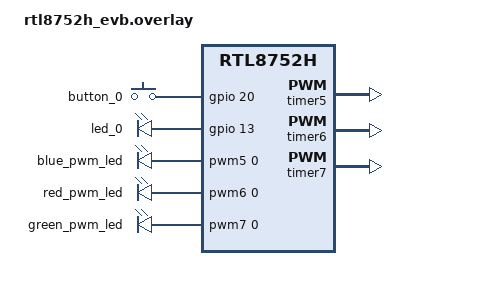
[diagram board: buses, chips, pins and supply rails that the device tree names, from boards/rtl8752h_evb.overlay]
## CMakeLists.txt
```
# SPDX-License-Identifier: Apache-2.0

cmake_minimum_required(VERSION 3.20.0)
set(QEMU_EXTRA_FLAGS -s)

find_package(Zephyr REQUIRED HINTS $ENV{ZEPHYR_BASE})
project(mesh)

target_sources(app PRIVATE src/main.c)

if(CONFIG_BOARD_BBC_MICROBIT)
  target_sources(app PRIVATE src/microbit.c)
else()
  target_sources(app PRIVATE src/board.c)
endif()

if (CONFIG_BUILD_WITH_TFM)
  target_include_directories(app PRIVATE
    $<TARGET_PROPERTY:tfm,TFM_BINARY_DIR>/api_ns/interface/include
  )
endif()
# zephyr_code_relocate(FILES ${WEST_TOPDIR}/modules/hal/realtek/bee/drivers/pinmux/src/rtl8752h/rtl876x_pinmux.c LOCATION RAM)
```

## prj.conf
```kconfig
CONFIG_SYSTEM_WORKQUEUE_STACK_SIZE=2048

CONFIG_BT_SETTINGS=y
CONFIG_FLASH=y
CONFIG_FLASH_MAP=y
CONFIG_NVS=y
CONFIG_SETTINGS=y
CONFIG_HWINFO=y

CONFIG_BT=y
CONFIG_BT_L2CAP_TX_BUF_COUNT=5
CONFIG_BT_PERIPHERAL=y
CONFIG_BT_OBSERVER=y
CONFIG_BT_BROADCASTER=y

CONFIG_BT_CTLR_DUP_FILTER_LEN=0
CONFIG_BT_CTLR_LE_ENC=n
CONFIG_BT_CTLR_LE_PING=n
CONFIG_BT_DATA_LEN_UPDATE=n
CONFIG_BT_PHY_UPDATE=n
CONFIG_BT_CTLR_MIN_USED_CHAN=n
CONFIG_BT_CTLR_PRIVACY=n
CONFIG_BT_CTLR_CHAN_SEL_2=n

CONFIG_BT_MESH=y
CONFIG_BT_MESH_MODEL_EXTENSIONS=y
CONFIG_BT_MESH_RELAY=y
CONFIG_BT_MESH_FRIEND=n
CONFIG_BT_MESH_PB_GATT=y
CONFIG_BT_MESH_PB_ADV=y
CONFIG_BT_MESH_GATT_PROXY=y

CONFIG_BT_MESH_SUBNET_COUNT=2
CONFIG_BT_MESH_APP_KEY_COUNT=2
CONFIG_BT_MESH_MODEL_GROUP_COUNT=2
CONFIG_BT_MESH_LABEL_COUNT=3


#RTL_DEBUG[🔧] common mesh conf
#2025-07-30
CONFIG_DEBUG_OPTIMIZATIONS=n

CONFIG_LOG=y

CONFIG_SHELL=y
CONFIG_BT_MESH_SHELL=y
# CONFIG_SHELL_HISTORY=n
CONFIG_SHELL_CMDS_SELECT=n
CONFIG_SHELL_HELP=n
CONFIG_SHELL_TAB_AUTOCOMPLETION=n
CONFIG_SHELL_CMD_BUFF_SIZE=32
CONFIG_FLASH_SHELL=n
#配置为1500 发现执行mesh reset-local会出现shell uart线程的栈溢出
CONFIG_SHELL_STACK_SIZE=2048

CONFIG_LOG_BUFFER_SIZE=1024


CONFIG_BT_MESH_CDB=y

CONFIG_BT_MESH_CRPL=30
CONFIG_BT_MESH_MSG_CACHE_SIZE=30

CONFIG_NVS_LOOKUP_CACHE=y
CONFIG_SETTINGS_NVS_NAME_CACHE=y
CONFIG_SETTINGS_NVS_NAME_CACHE_SIZE=32

#长时间运行mesh 使用率有720byte
CONFIG_MAIN_STACK_SIZE=1200

CONFIG_SPEED_OPTIMIZATIONS=y


# CONFIG_STDOUT_CONSOLE=y
# enable to use thread names
CONFIG_SEGGER_SYSTEMVIEW=n
CONFIG_THREAD_NAME=y
CONFIG_USE_SEGGER_RTT=y
CONFIG_TRACING=y
CONFIG_TRACING_BACKEND_RAM=y
# enable for post-mortem tracing
CONFIG_SEGGER_SYSVIEW_POST_MORTEM_MODE=n
CONFIG_TRACING_BUFFER_SIZE=4096

CONFIG_TICKLESS_KERNEL=n
CONFIG_TIMESLICE_SIZE=10

CONFIG_BT_MESH_UNPROV_BEACON_INT=10

#使用pubic addr
CONFIG_BT_PRIVACY=n

CONFIG_DEBUG_COREDUMP=y
CONFIG_DEBUG_COREDUMP_BACKEND_LOGGING=y
```

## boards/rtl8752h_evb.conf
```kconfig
#RTL_DEBUG[🔧]rtl8762h mesh 开启gpio led pwm
CONFIG_GPIO=y
CONFIG_PWM=n
CONFIG_LED=y

#default use ext adv
CONFIG_BT_EXT_ADV=y
#legacy adv情况下,要设置mesh adv stack,defult值1024不够用,在extend adv模式下不起作用
CONFIG_BT_MESH_ADV_STACK_SIZE=2500

CONFIG_PM=n

CONFIG_LOG=y

CONFIG_UART_BEE_KEEP_ACTIVE_AFTER_RX_WAKEUP=y
CONFIG_UART_BEE_KEEP_ACTIVE_TIMEOUT_MSEC=10000

CONFIG_BT_MESH_CDB=y

CONFIG_BT_MESH_CRPL=30
CONFIG_BT_MESH_MSG_CACHE_SIZE=30

CONFIG_NVS_LOOKUP_CACHE=y
CONFIG_SETTINGS_NVS_NAME_CACHE=y
CONFIG_SETTINGS_NVS_NAME_CACHE_SIZE=32

CONFIG_BT_MESH_GATT_PROXY_ENABLED=y


CONFIG_BT_MESH_UNPROV_BEACON_INT=10


#other wise will stack overflow
CONFIG_IDLE_STACK_SIZE=1024


#zephyr\subsys\bluetooth\common\Kconfig中配置的值：开启extend adv,值是58，开启leagcy adv,值是255
#如果没有开启blocking机制，则需要配置discardable size为255
CONFIG_BT_BUF_EVT_DISCARDABLE_SIZE=255
CONFIG_BT_BUF_EVT_DISCARDABLE_COUNT=5


#长时间运行mesh 使用率有1.3k，leagcy adv发包，使用率是1892byte,default 2600: zephyr\subsys\bluetooth\host\Kconfig ，次数优化ram,配置为2048
CONFIG_BT_RX_STACK_SIZE=2048

#长时间运行之后，使用了1200byte，需要调整2048比较保险
CONFIG_BT_MESH_SETTINGS_WORKQ_STACK_SIZE=1800

CONFIG_LOG_BUFFER_SIZE=1024

#优化ram:default为32,在zephyr\subsys\bluetooth\mesh\Kconfig
#控制每个Relay节点可同时缓存多少条需要广播出去的retransmit消息，保障高并发场景不丢包，32变为16,减掉1k
CONFIG_BT_MESH_RELAY_BUF_COUNT=8

#zephyr\boards\realtek\rtl8752htv_evb\Kconfig.defconfig中配置的值是7/8，为了优化ram，设置为5和6. config file中配置的acl rx是5，保持一致
CONFIG_BT_BUF_ACL_RX_COUNT=5
CONFIG_BT_BUF_EVT_RX_COUNT=6


#同时支持的中继广告集数量,(默认：0，范围：0 到 BT_EXT_ADV_MAX_ADV_SET），较高的值允许更多并发中继消息。
#若设为 0，缺乏专用中继集，可能限制密集网络中的配网 PDU 中继。

CONFIG_BT_EXT_ADV_MAX_ADV_SET=4
CONFIG_BT_MESH_RELAY_ADV_SETS=2

#允许主adv广播集在专用中继集忙碌时，用于中继消息，（默认：禁用），启用后可提高中继效率，但在主集忙碌时可能延迟本地配网消息
CONFIG_BT_MESH_PB_ADV_USE_RELAY_SETS=y

#为 GATT 服务端广告使用单独的扩展广播集，（默认：禁用）,开启后可减少与 Mesh 广播的竞争
CONFIG_BT_MESH_ADV_EXT_GATT_SEPARATE=y

#为 Friend 节点广告使用单独的扩展广告集,默认：禁用,启用此选项可减少 LPN 扫描时间，间接提高配网效率,优化低功耗节点(LPN)的接收窗口
# BT_MESH_ADV_EXT_FRIEND_SEPARATE=y


#ext adv和scan模式下,scan效率低,需要增加：
#pb-adv的重传:

#Link Open 和 Transaction PDU 的重传次数,（默认：使用中继集时 7，否则 0；范围：0–7）
CONFIG_BT_MESH_PB_ADV_TRANS_PDU_RETRANSMIT_COUNT=4

#Link Ack 和 Transaction Acknowledgment PDU 的重传次数,（默认：2，范围：0–7）,较高值确保确认消息送达，但过多重传可能导致网络拥堵
CONFIG_BT_MESH_PB_ADV_TRANS_ACK_RETRANSMIT_COUNT=3

#Link Close PDU 的重传次数,（默认：使用中继集时 7，否则 2；范围：0–7）
CONFIG_BT_MESH_PB_ADV_LINK_CLOSE_RETRANSMIT_COUNT=4

#配网 PDU 重传的超时时间,较短的超时加快重传，适合噪声环境，但可能增加网络负载；较长的超时可能降低成功率
CONFIG_BT_MESH_PB_ADV_RETRANS_TIMEOUT=350

#configuration的重传：
CONFIG_BT_MESH_NETWORK_TRANSMIT_COUNT=3
CONFIG_BT_MESH_NETWORK_TRANSMIT_INTERVAL=15

CONFIG_BT_MESH_RELAY_RETRANSMIT_COUNT=3
CONFIG_BT_MESH_RELAY_RETRANSMIT_INTERVAL=15

#本地消息的广告缓冲区数量,默认：6，范围：1–256,缓冲区不足可能导致配网数据包丢失，尤其在密集网络中
CONFIG_BT_MESH_ADV_BUF_COUNT=12



# for debug
CONFIG_THREAD_NAME=y
#开启这个config,log_stack会由默认的768变为2048，见在zephyr\subsys\logging\Kconfig.processing中LOG_PROCESS_THREAD_STACK_SIZE
#CONFIG_ASSERT=y
CONFIG_BT_MESH_PROV_LOG_LEVEL_DBG=y
CONFIG_BT_MESH_TRANS_LOG_LEVEL_DBG=y
CONFIG_SYS_HEAP_RUNTIME_STATS=y

CONFIG_CODE_DATA_RELOCATION=y

CONFIG_BT_DEVICE_NAME="RTK bee3plus Mesh Light"

#在zephyr\subsys\bluetooth\host\Kconfig和hci core.c中添加的blocking去掉了，恢复原始的设置，因为验证：
#hci_rtl87x2g.c所以此处注销
# CONFIG_BT_RECV_BLOCKING=y 
```

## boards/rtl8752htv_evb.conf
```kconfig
#RTL_DEBUG[🔧]rtl8762h mesh 开启gpio led pwm
CONFIG_GPIO=y
CONFIG_PWM=y
CONFIG_LED=y

#default use ext adv
CONFIG_BT_EXT_ADV=y
#legacy adv情况下,要设置mesh adv stack,defult值1024不够用,在extend adv模式下不起作用
CONFIG_BT_MESH_ADV_STACK_SIZE=2500

CONFIG_PM=n

CONFIG_LOG=y


CONFIG_BT_MESH_CDB=y

CONFIG_BT_MESH_CRPL=30
CONFIG_BT_MESH_MSG_CACHE_SIZE=30

CONFIG_NVS_LOOKUP_CACHE=y
CONFIG_SETTINGS_NVS_NAME_CACHE=y
CONFIG_SETTINGS_NVS_NAME_CACHE_SIZE=32

CONFIG_BT_MESH_GATT_PROXY_ENABLED=y


CONFIG_BT_MESH_UNPROV_BEACON_INT=10


#other wise will stack overflow
CONFIG_IDLE_STACK_SIZE=1024


#zephyr\subsys\bluetooth\common\Kconfig中配置的值：开启extend adv,值是58，开启leagcy adv,值是255
#如果没有开启blocking机制，则需要配置discardable size为255
# CONFIG_BT_BUF_EVT_DISCARDABLE_SIZE=255
CONFIG_BT_BUF_EVT_DISCARDABLE_COUNT=5


#长时间运行mesh 使用率有1.3k，leagcy adv发包，使用率是1892byte,default 2600: zephyr\subsys\bluetooth\host\Kconfig ，次数优化ram,配置为2048
CONFIG_BT_RX_STACK_SIZE=2048

#长时间运行之后，使用了1200byte，需要调整2048比较保险
CONFIG_BT_MESH_SETTINGS_WORKQ_STACK_SIZE=1800

CONFIG_LOG_BUFFER_SIZE=1024

#优化ram:default为32,在zephyr\subsys\bluetooth\mesh\Kconfig
#控制每个Relay节点可同时缓存多少条需要广播出去的retransmit消息，保障高并发场景不丢包，32变为16,减掉1k
CONFIG_BT_MESH_RELAY_BUF_COUNT=8

#zephyr\boards\realtek\rtl8752htv_evb\Kconfig.defconfig中配置的值是7/8，为了优化ram，设置为5和6. config file中配置的acl rx是5，保持一致
CONFIG_BT_BUF_ACL_RX_COUNT=5
CONFIG_BT_BUF_EVT_RX_COUNT=6


#同时支持的中继广告集数量,(默认：0，范围：0 到 BT_EXT_ADV_MAX_ADV_SET），较高的值允许更多并发中继消息。
#若设为 0，缺乏专用中继集，可能限制密集网络中的配网 PDU 中继。

CONFIG_BT_EXT_ADV_MAX_ADV_SET=4
CONFIG_BT_MESH_RELAY_ADV_SETS=2

#允许主adv广播集在专用中继集忙碌时，用于中继消息，（默认：禁用），启用后可提高中继效率，但在主集忙碌时可能延迟本地配网消息
CONFIG_BT_MESH_PB_ADV_USE_RELAY_SETS=y

#为 GATT 服务端广告使用单独的扩展广播集，（默认：禁用）,开启后可减少与 Mesh 广播的竞争
CONFIG_BT_MESH_ADV_EXT_GATT_SEPARATE=y

#为 Friend 节点广告使用单独的扩展广告集,默认：禁用,启用此选项可减少 LPN 扫描时间，间接提高配网效率,优化低功耗节点(LPN)的接收窗口
# BT_MESH_ADV_EXT_FRIEND_SEPARATE=y


#ext adv和scan模式下,scan效率低,需要增加：
#pb-adv的重传:

#Link Open 和 Transaction PDU 的重传次数,（默认：使用中继集时 7，否则 0；范围：0–7）
CONFIG_BT_MESH_PB_ADV_TRANS_PDU_RETRANSMIT_COUNT=4

#Link Ack 和 Transaction Acknowledgment PDU 的重传次数,（默认：2，范围：0–7）,较高值确保确认消息送达，但过多重传可能导致网络拥堵
CONFIG_BT_MESH_PB_ADV_TRANS_ACK_RETRANSMIT_COUNT=3

#Link Close PDU 的重传次数,（默认：使用中继集时 7，否则 2；范围：0–7）
CONFIG_BT_MESH_PB_ADV_LINK_CLOSE_RETRANSMIT_COUNT=4

#配网 PDU 重传的超时时间,较短的超时加快重传，适合噪声环境，但可能增加网络负载；较长的超时可能降低成功率
CONFIG_BT_MESH_PB_ADV_RETRANS_TIMEOUT=350

#configuration的重传：
CONFIG_BT_MESH_NETWORK_TRANSMIT_COUNT=3
CONFIG_BT_MESH_NETWORK_TRANSMIT_INTERVAL=15

CONFIG_BT_MESH_RELAY_RETRANSMIT_COUNT=3
CONFIG_BT_MESH_RELAY_RETRANSMIT_INTERVAL=15

#本地消息的广告缓冲区数量,默认：6，范围：1–256,缓冲区不足可能导致配网数据包丢失，尤其在密集网络中
CONFIG_BT_MESH_ADV_BUF_COUNT=12



# for debug
CONFIG_THREAD_NAME=y
#开启这个config,log_stack会由默认的768变为2048，见在zephyr\subsys\logging\Kconfig.processing中LOG_PROCESS_THREAD_STACK_SIZE
#CONFIG_ASSERT=y
CONFIG_BT_MESH_PROV_LOG_LEVEL_DBG=y
CONFIG_BT_MESH_TRANS_LOG_LEVEL_DBG=y
CONFIG_SYS_HEAP_RUNTIME_STATS=y

CONFIG_CODE_DATA_RELOCATION=y

CONFIG_BT_DEVICE_NAME="RTK bee3plus Mesh Light"

#在zephyr\subsys\bluetooth\host\Kconfig和hci core.c中添加的blocking去掉了，恢复原始的设置，因为验证：
#hci_rtl87x2g.c所以此处注销
# CONFIG_BT_RECV_BLOCKING=y 
```

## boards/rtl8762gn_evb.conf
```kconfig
#RTL_DEBUG[🔧] rtl8762g mesh 开启gpio pwm led
CONFIG_GPIO=y
CONFIG_PWM=y
CONFIG_LED=y

#RTL_DEBUG[🔧] rtl8762g mesh conf
CONFIG_SYSTEM_WORKQUEUE_STACK_SIZE=3072

CONFIG_BT_MESH_SETTINGS_WORKQ_STACK_SIZE=2048

CONFIG_BT_EXT_ADV=y
#legacy adv情况下,要设置mesh adv stack,defult值1024不够用
CONFIG_BT_MESH_ADV_STACK_SIZE=2500

CONFIG_BT_BUF_EVT_DISCARDABLE_SIZE=255
CONFIG_BT_BUF_EVT_DISCARDABLE_COUNT=10

CONFIG_IDLE_STACK_SIZE=1024
CONFIG_COUNTER=y

CONFIG_BT_DEVICE_NAME="RTK bee4 Mesh Light"

CONFIG_SHELL=y
CONFIG_BT_MESH_SHELL=y
# CONFIG_SHELL_HISTORY=n
CONFIG_SHELL_CMDS_SELECT=n
# CONFIG_SHELL_HELP=n
CONFIG_SHELL_TAB_AUTOCOMPLETION=n
# CONFIG_SHELL_STACK_SIZE=1500
# CONFIG_SHELL_CMD_BUFF_SIZE=32
CONFIG_FLASH_SHELL=n


CONFIG_LOG_BUFFER_SIZE=4096
CONFIG_DEBUG_COREDUMP=y
CONFIG_DEBUG_COREDUMP_BACKEND_LOGGING=y
```

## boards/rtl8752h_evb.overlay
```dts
/ {
    /*RTL_DEBUG[🔧] rtl8762h mesh gpio button pwm*/
    aliases {
        sw0 = &button_0;
        led0 = &led_0;
		pwm-led = &pwmleds;
    };

    gpio_keys {
		compatible = "gpio-keys";
		button_0: button_0 {
			    gpios = <&gpio 20 GPIO_ACTIVE_HIGH>;
				//status = "disabled";
		};
	};

    gpio-led {
		compatible = "gpio-leds";
		led_0: led_0 {
			gpios = <&gpio 13 GPIO_ACTIVE_HIGH>;/*modules\hal\realtek\bee\rtl8752h\boot\inc\rtl876x.h */
			//status = "disabled";
		};
	};
	
	

};

&gpio{
    status = "okay";
};

/*RTK 40M clock*/
&timer2 {
    status = "disabled";
    /* 40000000/40 = 1000000 */
    prescaler = <40>;
};

&timer5 {
	status = "okay";
	prescaler = <1>;
	pwm5: pwm5 {
		status = "okay";
		pinctrl-0 = <&pwm5_default>;
		pinctrl-1 = <&pwm5_sleep>;
		pinctrl-names = "default","sleep";
		//pinctrl-names = "default";
	};
};
&timer6{
	status = "okay";
	prescaler = <1>;
	pwm6: pwm6{
		status = "okay";
		pinctrl-0 = <&pwm6_default>;
		pinctrl-1 = <&pwm6_sleep>;
		pinctrl-names = "default","sleep";
		//pinctrl-names = "default";
	};
};
&timer7 {
	status = "okay";
	prescaler = <1>;
	pwm7: pwm7 {
		status = "okay";
		pinctrl-0 = <&pwm7_default>;
		pinctrl-1 = <&pwm7_sleep>;
		pinctrl-names = "default","sleep";
		//pinctrl-names = "default";
	};
};

&pinctrl {
	uart2_sleep: uart2_sleep {
		group1 {
			psels = <BEE_PSEL(SW_MODE, P3_1, DIR_IN, DRV_HIGH, PULL_UP)>;
			wakeup-low;
		};
		group2 {
			psels = <BEE_PSEL(SW_MODE, P3_0, DIR_OUT, DRV_HIGH, PULL_UP)>;
		};
	};

	pwm5_default: pwm5_default {
		group1 {
			psels = <BEE_PSEL(ENPWM0_P, P4_0,DIR_OUT, DRV_LOW, PULL_DOWN)>;
		};
	};
	pwm5_sleep: pwm5_sleep {
		group1 {
			psels = <BEE_PSEL(SW_MODE, P4_0, DIR_IN, DRV_HIGH, PULL_DOWN)>;
			
		};
   };

	pwm6_default: pwm6_default {
		group1 {
			psels = <BEE_PSEL(ENPWM0_N, P4_1,DIR_OUT, DRV_LOW, PULL_DOWN)>;
		};
	};
    
	pwm6_sleep: pwm6_sleep {
		group1 {
			psels = <BEE_PSEL(SW_MODE, P4_1, DIR_IN, DRV_HIGH, PULL_UP)>;
			
		};
   };

	pwm7_default: pwm7_default {
		group1 {
			psels = <BEE_PSEL(ENPWM1, P4_2,DIR_OUT, DRV_LOW, PULL_DOWN)>;
		};
	};
	pwm7_sleep: pwm7_sleep {
		group1 {
			psels = <BEE_PSEL(SW_MODE, P4_2, DIR_IN, DRV_HIGH, PULL_UP)>;
			//psels = <BEE_PSEL(ENPWM1, P4_2,DIR_OUT, DRV_LOW, PULL_DOWN)>;
		};
   };
};
 
/ {
    pwmleds: pwmleds {
        compatible = "pwm-leds";
	   blue_pwm_led: blue_pwm_led {
            pwms = <&pwm5 0 PWM_MSEC(5) 0>;
	    };
	    red_pwm_led: red_pwm_led {
		    pwms = <&pwm6 0 PWM_MSEC(5) 0>;
	    };
	    green_pwm_led: green_pwm_led {
		    pwms = <&pwm7 0 PWM_MSEC(5) 0>;
	    };
	
    };

};
```

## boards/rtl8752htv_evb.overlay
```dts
/ {
    /*RTL_DEBUG[🔧] rtl8762h mesh gpio button pwm*/
    aliases {
        sw0 = &button_0;
        led0 = &led_0;
		pwm-led = &pwmleds;
    };

    gpio_keys {
		compatible = "gpio-keys";
		button_0: button_0 {
			    gpios = <&gpio 20 GPIO_ACTIVE_HIGH>;
		};
	};

    gpio-led {
		compatible = "gpio-leds";
		led_0: led_0 {
			gpios = <&gpio 13 GPIO_ACTIVE_HIGH>;/*modules\hal\realtek\bee\rtl8752h\boot\inc\rtl876x.h */
		};
	};
	
	

};

&gpio{
    status = "okay";
};

/*RTK 40M clock*/
&timer2 {
    status = "okay";
    /* 40000000/40 = 1000000 */
    prescaler = <40>;
};

&timer5 {
	status = "okay";
	prescaler = <1>;
	pwm5: pwm5 {
		status = "okay";
		pinctrl-0 = <&pwm5_default>;
		pinctrl-names = "default";
	};
};
&timer6{
	status = "okay";
	prescaler = <1>;
	pwm6: pwm6{
		status = "okay";
		pinctrl-0 = <&pwm6_default>;
		pinctrl-names = "default";
	};
};
&timer7 {
	status = "okay";
	prescaler = <1>;
	pwm7: pwm7 {
		status = "okay";
		pinctrl-0 = <&pwm7_default>;
		pinctrl-names = "default";
	};
};

&pinctrl {
	pwm5_default: pwm5_default {
		group1 {
			psels = <BEE_PSEL(ENPWM0_P, P4_0,DIR_OUT, DRV_LOW, PULL_DOWN)>;
		};
	};
	pwm6_default: pwm6_default {
		group1 {
			psels = <BEE_PSEL(ENPWM0_N, P4_1,DIR_OUT, DRV_LOW, PULL_DOWN)>;
		};
	};
	pwm7_default: pwm7_default {
		group1 {
			psels = <BEE_PSEL(ENPWM1, P4_2,DIR_OUT, DRV_LOW, PULL_DOWN)>;
		};
	};
};
 
/ {
    pwmleds: pwmleds {
        compatible = "pwm-leds";
	   blue_pwm_led: blue_pwm_led {
            pwms = <&pwm5 0 PWM_MSEC(5) 0>;
	    };
	    red_pwm_led: red_pwm_led {
		    pwms = <&pwm6 0 PWM_MSEC(5) 0>;
	    };
	    green_pwm_led: green_pwm_led {
		    pwms = <&pwm7 0 PWM_MSEC(5) 0>;
	    };
	
    };

};
```

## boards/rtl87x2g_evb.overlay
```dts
/ {
    /*RTL_DEBUG[🔧] rtl8762g mesh gpio button pwm*/
    aliases {
        sw0 = &button_0;
        led0 = &led_0;
		pwm-led = &pwmleds;
    };

    gpio_keys {
		compatible = "gpio-keys";
		button_0: button_0 {
			    gpios = <&gpioa 25 GPIO_ACTIVE_HIGH>;
		};
	};

    gpio-led {
		compatible = "gpio-leds";
		led_0: led_0 {
			gpios = <&gpiob 8 GPIO_ACTIVE_HIGH>;
		};
	};
	// pwmleds {
	// 	compatible = "pwm-leds";

	// 	/* NOTE: bridge TIMER0_CH0 (PA8) and LED1 (PC0) */
	// 	pwm_led: pwm_led {
	// 		pwms = <&pwm8 0 0>;

	// 		};
	// };
	

};

&gpioa {
    status = "okay";
};


&gpiob {
    status = "okay";
};

// &timer8 {
// 	status = "okay";
// 	prescaler = <1>;
// 	pwm8: pwm {
// 			status = "okay";
// 			pinctrl-0 = <&pwm8_default>;
// 			pinctrl-names = "default";
// 	};
//  };

// &pinctrl {
// 	pwm8_default: pwm8_default {
// 			group1 {
// 					psels = <BEE_PSEL(ENPWM0_P, P4_0,DIR_OUT, DRV_LOW, PULL_DOWN)>;
// 			};
//     };
// };

&timer8 {
	status = "okay";
	prescaler = <1>;
	pwm8: pwm8 {
		status = "okay";
		pinctrl-0 = <&pwm8_default>;
		pinctrl-names = "default";
	};
};
&timer9 {
	status = "okay";
	prescaler = <1>;
	pwm9: pwm9{
		status = "okay";
		pinctrl-0 = <&pwm9_default>;
		pinctrl-names = "default";
	};
};
&timer10 {
	status = "okay";
	prescaler = <1>;
	pwm10: pwm10 {
		status = "okay";
		pinctrl-0 = <&pwm10_default>;
		pinctrl-names = "default";
	};
};

&pinctrl {
	pwm8_default: pwm8_default {
		group1 {
			psels = <BEE_PSEL(ENPWM0_P, P4_0,DIR_OUT, DRV_LOW, PULL_DOWN)>;
		};
	};
	pwm9_default: pwm9_default {
		group1 {
			psels = <BEE_PSEL(ENPWM1_P, P4_1,DIR_OUT, DRV_LOW, PULL_DOWN)>;
		};
	};
	pwm10_default: pwm10_default {
		group1 {
			psels = <BEE_PSEL(ENPWM2_P, P4_2,DIR_OUT, DRV_LOW, PULL_DOWN)>;
		};
	};
};
 
/ {
    pwmleds: pwmleds {
        compatible = "pwm-leds";
	   blue_pwm_led: blue_pwm_led {
            pwms = <&pwm8 0 PWM_MSEC(5) 0>;
	    };
	    red_pwm_led: red_pwm_led {
		    pwms = <&pwm9 0 PWM_MSEC(5) 0>;
	    };
	    green_pwm_led: green_pwm_led {
		    pwms = <&pwm10 0 PWM_MSEC(5) 0>;
	    };
	
    };

};
```

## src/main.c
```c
/* main.c - Application main entry point */

/*
 * Copyright (c) 2017 Intel Corporation
 *
 * SPDX-License-Identifier: Apache-2.0
 */

#include <zephyr/sys/printk.h>

#include <zephyr/settings/settings.h>
#include <zephyr/devicetree.h>
#include <zephyr/device.h>
#include <zephyr/drivers/gpio.h>
#include <zephyr/drivers/hwinfo.h>
#include <zephyr/sys/byteorder.h>

#include <zephyr/bluetooth/bluetooth.h>
#include <zephyr/bluetooth/mesh.h>

#include "board.h"

#if defined(CONFIG_SOC_SERIES_RTL8752H)
#include "rtl876x_pinmux.h"
#elif  defined(CONFIG_SOC_SERIES_RTL87X2G)
#include "rtl_pinmux.h"
#endif


#define OP_ONOFF_GET       BT_MESH_MODEL_OP_2(0x82, 0x01)
#define OP_ONOFF_SET       BT_MESH_MODEL_OP_2(0x82, 0x02)
#define OP_ONOFF_SET_UNACK BT_MESH_MODEL_OP_2(0x82, 0x03)
#define OP_ONOFF_STATUS    BT_MESH_MODEL_OP_2(0x82, 0x04)

#if CONFIG_PM
#if defined(CONFIG_SOC_SERIES_RTL8752H)
#include "rtl876x_pinmux.h"
#elif  defined(CONFIG_SOC_SERIES_RTL87X2G)
#include "rtl_pinmux.h"
#endif
#include "mesh/adv.h"
#include "trace.h"
#include "dlps.h"
#if defined(CONFIG_BT_MESH_SHELL)
#include <zephyr/shell/shell.h>
#endif

void pm_test_timer_expired_handler(struct k_timer *timer);
K_TIMER_DEFINE(pm_test_timer, pm_test_timer_expired_handler, NULL);
void pm_test_timer_expired_handler(struct k_timer *timer)
{

}
bool is_app_enabled_dlps = true;
int pm_user_ctl(const struct shell *sh, size_t argc, char **argv)
{
   int err = 0;
   uint16_t pm_ctl =0;
   #if defined(CONFIG_BT_MESH_SHELL)
   pm_ctl = shell_strtoul(argv[1], 0, &err);
   #endif
   if(pm_ctl ==0) is_app_enabled_dlps =false;
   else is_app_enabled_dlps =true;

   return 0;
}

extern void (*platform_pm_register_callback_func_with_priority)(void *, PlatformPMStage, int8_t);

enum PMCheckResult app_enter_dlps_check(void) {
    //DBG_DIRECT("app check dlps flag %d", app_global_data.is_app_enabled_dlps);
    //return app_global_data.is_app_enabled_dlps ? PM_CHECK_PASS : PM_CHECK_FAIL;
	//printk("dlps_check\n");
	//DBG_DIRECT("dlps_check\n");
	//return is_app_enabled_dlps ? PM_CHECK_PASS : PM_CHECK_FAIL;
	return PM_CHECK_PASS ;
	//return is_app_enabled_dlps;
}

void sync_entim_exit_dlps_cb(void)
{
	 //printk("exit_dlps_cb\n");
	 //uint32_t reason= power_get_wakeup_reason();
	 //Pad_Config(P4_0, PAD_SW_MODE, PAD_IS_PWRON, PAD_PULL_DOWN, PAD_OUT_ENABLE, PAD_OUT_LOW);
	 uint32_t reason = platform_pm_get_wakeup_reason();
	 //DBG_DIRECT("exit_dlps_cb reason=0x%x",reason);
	  printk("ext=0x%08x\n",reason);
	//  #if defined(CONFIG_SHELL)
	//   if (System_WakeUpInterruptValue(P3_1) == SET)
    //   {
	// 	//DBG_DIRECT("wakeup by P31");
	// 	Pad_ClearWakeupINTPendingBit(P3_1);
	// 	System_WakeUpPinDisable(P3_1);
	// 	printk("p31 wake up\n");
	// 	is_app_enabled_dlps=false;
	//   }
	//   Pad_ControlSelectValue(P3_0, PAD_PINMUX_MODE);
    //   Pad_ControlSelectValue(P3_1, PAD_PINMUX_MODE);
	//   //Pad_ControlSelectValue(P2_4, PAD_PINMUX_MODE);//button pin
    //   //Pad_ControlSelectValue(P4_0, PAD_PINMUX_MODE);//gpio led pin
	//  #endif
      
}
void sync_entim_enter_dlps_cb(void)
{
    printk("en_cb\n");
	//DBG_DIRECT("enter_dlps_cb");
	// #if defined(CONFIG_SHELL)
	//  //Pad_Config(P4_0, PAD_SW_MODE, PAD_IS_PWRON, PAD_PULL_DOWN, PAD_OUT_ENABLE, PAD_OUT_HIGH);
	//  Pad_ControlSelectValue(P3_0, PAD_SW_MODE);//tx pin
    //  Pad_ControlSelectValue(P3_1, PAD_SW_MODE);//rx pin
	//  //Pad_ControlSelectValue(P2_4, PAD_SW_MODE);//button pin
    //  //Pad_ControlSelectValue(P4_0, PAD_SW_MODE);//gpio led pin
	//  #if defined(CONFIG_SOC_SERIES_RTL8752H)
	//  System_WakeUpPinEnable(P3_1, PAD_WAKEUP_POL_LOW, 0,20);
	//  #elif  defined(CONFIG_SOC_SERIES_RTL87X2G)
    //  System_WakeUpPinEnable(P3_1, PAD_WAKEUP_POL_LOW, 0);
	//  #endif
	// #endif
     
}


static void app_dlps_check_cb_register(void) {
    platform_pm_register_callback_func_with_priority((void *)app_enter_dlps_check, PLATFORM_PM_CHECK,1);
}
static void app_dlps_enter_cb_register(void) {
    platform_pm_register_callback_func_with_priority((void *)sync_entim_enter_dlps_cb, PLATFORM_PM_ENTER,1);
}
static void app_dlps_exit_cb_register(void) {
    platform_pm_register_callback_func_with_priority((void *)sync_entim_exit_dlps_cb, PLATFORM_PM_EXIT,1);
}
#endif

static void attention_on(const struct bt_mesh_model *mod)
{
	board_led_set(true);
}

static void attention_off(const struct bt_mesh_model *mod)
{
	board_led_set(false);
}

static const struct bt_mesh_health_srv_cb health_cb = {
	.attn_on = attention_on,
	.attn_off = attention_off,
};

static struct bt_mesh_health_srv health_srv = {
	.cb = &health_cb,
};

BT_MESH_HEALTH_PUB_DEFINE(health_pub, 0);

static const char *const onoff_str[] = { "off", "on" };

static struct {
	bool val;
	uint8_t tid;
	uint16_t src;
	uint32_t transition_time;
	struct k_work_delayable work;
} onoff;

/* OnOff messages' transition time and remaining time fields are encoded as an
 * 8 bit value with a 6 bit step field and a 2 bit resolution field.
 * The resolution field maps to:
 * 0: 100 ms
 * 1: 1 s
 * 2: 10 s
 * 3: 20 min
 */
static const uint32_t time_res[] = {
	100,
	MSEC_PER_SEC,
	10 * MSEC_PER_SEC,
	10 * 60 * MSEC_PER_SEC,
};

static inline int32_t model_time_decode(uint8_t val)
{
	uint8_t resolution = (val >> 6) & BIT_MASK(2);
	uint8_t steps = val & BIT_MASK(6);

	if (steps == 0x3f) {
		return SYS_FOREVER_MS;
	}

	return steps * time_res[resolution];
}

static inline uint8_t model_time_encode(int32_t ms)
{
	if (ms == SYS_FOREVER_MS) {
		return 0x3f;
	}

	for (int i = 0; i < ARRAY_SIZE(time_res); i++) {
		if (ms >= BIT_MASK(6) * time_res[i]) {
			continue;
		}

		uint8_t steps = DIV_ROUND_UP(ms, time_res[i]);

		return steps | (i << 6);
	}

	return 0x3f;
}

static int onoff_status_send(const struct bt_mesh_model *model,
			     struct bt_mesh_msg_ctx *ctx)
{
	uint32_t remaining;

	BT_MESH_MODEL_BUF_DEFINE(buf, OP_ONOFF_STATUS, 3);
	bt_mesh_model_msg_init(&buf, OP_ONOFF_STATUS);

	remaining = k_ticks_to_ms_floor32(
			    k_work_delayable_remaining_get(&onoff.work)) +
		    onoff.transition_time;

	/* Check using remaining time instead of "work pending" to make the
	 * onoff status send the right value on instant transitions. As the
	 * work item is executed in a lower priority than the mesh message
	 * handler, the work will be pending even on instant transitions.
	 */
	if (remaining) {
		net_buf_simple_add_u8(&buf, !onoff.val);
		net_buf_simple_add_u8(&buf, onoff.val);
		net_buf_simple_add_u8(&buf, model_time_encode(remaining));
	} else {
		net_buf_simple_add_u8(&buf, onoff.val);
	}

	return bt_mesh_model_send(model, ctx, &buf, NULL, NULL);
}

static void onoff_timeout(struct k_work *work)
{
	if (onoff.transition_time) {
		/* Start transition.
		 *
		 * The LED should be on as long as the transition is in
		 * progress, regardless of the target value, according to the
		 * Bluetooth Mesh Model specification, section 3.1.1.
		 */
		board_led_set(true);

		k_work_reschedule(&onoff.work, K_MSEC(onoff.transition_time));
		onoff.transition_time = 0;
		return;
	}

	board_led_set(onoff.val);
}

/* Generic OnOff Server message handlers */

static int gen_onoff_get(const struct bt_mesh_model *model,
			 struct bt_mesh_msg_ctx *ctx,
			 struct net_buf_simple *buf)
{
	onoff_status_send(model, ctx);
	return 0;
}

static int gen_onoff_set_unack(const struct bt_mesh_model *model,
			       struct bt_mesh_msg_ctx *ctx,
			       struct net_buf_simple *buf)
{
	uint8_t val = net_buf_simple_pull_u8(buf);
	uint8_t tid = net_buf_simple_pull_u8(buf);
	int32_t trans = 0;
	int32_t delay = 0;
    //Pad_Config(P3_2, PAD_SW_MODE, PAD_IS_PWRON, PAD_PULL_DOWN, PAD_OUT_ENABLE, PAD_OUT_HIGH);
	if (buf->len) {
		trans = model_time_decode(net_buf_simple_pull_u8(buf));
		delay = net_buf_simple_pull_u8(buf) * 5;
	}

	/* Only perform change if the message wasn't a duplicate and the
	 * value is different.
	 */
	if (tid == onoff.tid && ctx->addr == onoff.src) {
		/* Duplicate */
		return 0;
	}

	if (val == onoff.val) {
		/* No change */
		return 0;
	}

	printk("set: %s delay: %d ms time: %d ms\n", onoff_str[val], delay,
	       trans);

	onoff.tid = tid;
	onoff.src = ctx->addr;
	onoff.val = val;
	onoff.transition_time = trans;

	/* Schedule the next action to happen on the delay, and keep
	 * transition time stored, so it can be applied in the timeout.
	 */
	//k_work_reschedule(&onoff.work, K_MSEC(delay));
	/*led闪烁改为直接操作gpio,不使用k_work sched，这样一致性好，2025-7-30 */
	board_led_set(onoff.val);
	//Pad_Config(P3_2, PAD_SW_MODE, PAD_IS_PWRON, PAD_PULL_DOWN, PAD_OUT_ENABLE, PAD_OUT_LOW);

	return 0;
}

static int gen_onoff_set(const struct bt_mesh_model *model,
			 struct bt_mesh_msg_ctx *ctx,
			 struct net_buf_simple *buf)
{
	#if CONFIG_PM
	is_app_enabled_dlps=false;
	#endif
	(void)gen_onoff_set_unack(model, ctx, buf);
	//onoff_status_send(model, ctx); //2025-07-30
    #if CONFIG_PM
	is_app_enabled_dlps=true;
	#endif
	return 0;
}

static const struct bt_mesh_model_op gen_onoff_srv_op[] = {
	{ OP_ONOFF_GET,       BT_MESH_LEN_EXACT(0), gen_onoff_get },
	{ OP_ONOFF_SET,       BT_MESH_LEN_MIN(2),   gen_onoff_set },
	{ OP_ONOFF_SET_UNACK, BT_MESH_LEN_MIN(2),   gen_onoff_set_unack },
	BT_MESH_MODEL_OP_END,
};

/* Generic OnOff Client */

static int gen_onoff_status(const struct bt_mesh_model *model,
			    struct bt_mesh_msg_ctx *ctx,
			    struct net_buf_simple *buf)
{
	uint8_t present = net_buf_simple_pull_u8(buf);

	if (buf->len) {
		uint8_t target = net_buf_simple_pull_u8(buf);
		int32_t remaining_time =
			model_time_decode(net_buf_simple_pull_u8(buf));

		printk("OnOff status: %s -> %s: (%d ms)\n", onoff_str[present],
		       onoff_str[target], remaining_time);
		return 0;
	}

	printk("OnOff status: %s\n", onoff_str[present]);

	return 0;
}

static const struct bt_mesh_model_op gen_onoff_cli_op[] = {
	{OP_ONOFF_STATUS, BT_MESH_LEN_MIN(1), gen_onoff_status},
	BT_MESH_MODEL_OP_END,
};

/* This application only needs one element to contain its models */
static const struct bt_mesh_model models[] = {
	BT_MESH_MODEL_CFG_SRV,
	BT_MESH_MODEL_HEALTH_SRV(&health_srv, &health_pub),
	BT_MESH_MODEL(BT_MESH_MODEL_ID_GEN_ONOFF_SRV, gen_onoff_srv_op, NULL,
		      NULL),
	BT_MESH_MODEL(BT_MESH_MODEL_ID_GEN_ONOFF_CLI, gen_onoff_cli_op, NULL,
		      NULL),
};

static const struct bt_mesh_elem elements[] = {
	BT_MESH_ELEM(0, models, BT_MESH_MODEL_NONE),
};

static const struct bt_mesh_comp comp = {
	.cid = BT_COMP_ID_LF,
	.elem = elements,
	.elem_count = ARRAY_SIZE(elements),
};

/* Provisioning */

static int output_number(bt_mesh_output_action_t action, uint32_t number)
{
	printk("OOB Number: %u\n", number);

	board_output_number(action, number);

	return 0;
}

static void prov_complete(uint16_t net_idx, uint16_t addr)
{
	board_prov_complete();
}

static void prov_reset(void)
{
	bt_mesh_prov_enable(BT_MESH_PROV_ADV | BT_MESH_PROV_GATT);
}

static uint8_t dev_uuid[16];

static const struct bt_mesh_prov prov = {
	.uuid = dev_uuid,
	.output_size = 4,
	.output_actions = BT_MESH_DISPLAY_NUMBER,
	.output_number = output_number,
	.complete = prov_complete,
	.reset = prov_reset,
};

/** Send an OnOff Set message from the Generic OnOff Client to all nodes. */
//static int gen_onoff_send(bool val)  //2025-07-30
static int gen_onoff_send(bool val,uint16_t dst)
{
	struct bt_mesh_msg_ctx ctx = {
		.app_idx = models[3].keys[0], /* Use the bound key */
		//.addr = BT_MESH_ADDR_ALL_NODES, //2025-07-30
		.addr = dst,
		.send_ttl = BT_MESH_TTL_DEFAULT,
	};
	static uint8_t tid;

	if (ctx.app_idx == BT_MESH_KEY_UNUSED) {
		printk("The Generic OnOff Client must be bound to a key before "
		       "sending.\n");
		return -ENOENT;
	}

	BT_MESH_MODEL_BUF_DEFINE(buf, OP_ONOFF_SET_UNACK, 2);
	bt_mesh_model_msg_init(&buf, OP_ONOFF_SET_UNACK);
	net_buf_simple_add_u8(&buf, val);
	net_buf_simple_add_u8(&buf, tid++);

	printk("Sending OnOff Set: %s\n", onoff_str[val]);

	return bt_mesh_model_send(&models[3], &ctx, &buf, NULL, NULL);
}

static void button_pressed(struct k_work *work)
{
	if (bt_mesh_is_provisioned()) {
		//(void)gen_onoff_send(!onoff.val); //2025-07-30
		(void)gen_onoff_send(!onoff.val,0);
		return;
	}

	/* Self-provision with an arbitrary address.
	 *
	 * NOTE: This should never be done in a production environment.
	 *       Addresses should be assigned by a provisioner, and keys should
	 *       be generated from true random numbers. It is done in this
	 *       sample to allow testing without a provisioner.
	 */
	static uint8_t net_key[16];
	static uint8_t dev_key[16];
	static uint8_t app_key[16];
	uint16_t addr;
	int err;

	if (IS_ENABLED(CONFIG_HWINFO)) {
		addr = sys_get_le16(&dev_uuid[0]) & BIT_MASK(15);
	} else {
		addr = k_uptime_get_32() & BIT_MASK(15);
	}

	printk("Self-provisioning with address 0x%04x\n", addr);
	err = bt_mesh_provision(net_key, 0, 0, 0, addr, dev_key);
	if (err) {
		printk("Provisioning failed (err: %d)\n", err);
		return;
	}

	/* Add an application key to both Generic OnOff models: */
	err = bt_mesh_app_key_add(0, 0, app_key);
	if (err) {
		printk("App key add failed (err: %d)\n", err);
		return;
	}

	/* Models must be bound to an app key to send and receive messages with
	 * it:
	 */
	models[2].keys[0] = 0;
	models[3].keys[0] = 0;

	printk("Provisioned and configured!\n");
}

char addr_s[BT_ADDR_LE_STR_LEN];//2025-07-30
int bt_mesh_scan_disable(void);
static void bt_ready(int err)
{
	if (err) {
		printk("Bluetooth init failed (err %d)\n", err);
		return;
	}

	printk("Bluetooth initialized\n");

	err = bt_mesh_init(&prov, &comp);
	if (err) {
		printk("Initializing mesh failed (err %d)\n", err);
		return;
	}

	if (IS_ENABLED(CONFIG_SETTINGS)) {
		settings_load();
	}

	/*get mac address for uuid 2024-7-30*/
    bt_addr_le_t device_addr;
    size_t count = 1;
    bt_id_get(&device_addr, &count);
    memcpy(dev_uuid,device_addr.a.val,6);
    bt_addr_le_to_str(&device_addr, addr_s, sizeof(addr_s));
    printk("advertising addr as %s\n", addr_s);

	/* This will be a no-op if settings_load() loaded provisioning info */
	bt_mesh_prov_enable(BT_MESH_PROV_ADV | BT_MESH_PROV_GATT);
   // bt_mesh_scan_disable();
	printk("Mesh initialized\n");
}


/*RTL_DEBUG[🔧]：使用shell指令，增加mesh device的调试code*/
/*
 sw timer
*/
#if defined(CONFIG_BT_MESH_SHELL)

#include <zephyr/shell/shell.h>
#include <stdio.h>
#include "mesh/access.h"
#include "mesh/net.h"
#include "common/bt_str.h"
#include "mesh/shell/utils.h"
#include <zephyr/bluetooth/mesh/shell.h>

struct app_key_val {
    uint16_t net_idx;
    bool updated;
    struct bt_mesh_key val[2];
} __packed;

char net_key_index[8];
void read_app_key(uint16_t app_idx,struct app_key_val *app_key);
struct app_key_val read_appkey;

/* nvs read seq*/
struct read_seq_val {
	uint8_t val[3];
} __packed;

int settings_read_one(const char *name, void *value, size_t read_len);


K_MSGQ_DEFINE(swtimer_msgq, 32, 10, 4);

typedef struct
{
    uint8_t buf;
    uint32_t len;
} T_RTL_MESH_SEND_BUF;
T_RTL_MESH_SEND_BUF mesh_send_buf;

uint16_t mesh_msg_send_count=0;
uint16_t mesh_msg_send_max_count=0;

void timer_expired_handler(struct k_timer *timer);
K_TIMER_DEFINE(test_timer, timer_expired_handler, NULL);

uint16_t send_dst = 0;


void heap_test_timer_expired_handler(struct k_timer *timer);
K_TIMER_DEFINE(heap_test_timer, heap_test_timer_expired_handler, NULL);

uint16_t heap_mesh_msg_send_count=0;
uint16_t heap_msg_send_max_count=0;

static int cmd_heap_test_start(const struct shell *sh, size_t argc,
			      char **argv, uint32_t period)
{
	ARG_UNUSED(argv);
	k_timer_start(&heap_test_timer, K_MSEC(period), K_MSEC(period));//K_NO_WAIT);

	return 0;
}

void heap_test_timer_expired_handler(struct k_timer *timer)
{
    //LOG_INF("Timer expired");
	//print_cpu_state();
    if(heap_msg_send_max_count!=0)
    {
       heap_mesh_msg_send_count++;
       if(heap_mesh_msg_send_count<heap_msg_send_max_count)
       { 
         mesh_send_buf.buf =2;
         k_msgq_put(&swtimer_msgq, &mesh_send_buf, K_NO_WAIT);
       }
       else
       {
        heap_mesh_msg_send_count=0;
        k_timer_stop(&heap_test_timer);
       }
    }
    else
    {
         mesh_send_buf.buf =2;
         k_msgq_put(&swtimer_msgq, &mesh_send_buf, K_NO_WAIT); 
    }
    
}


static int cmd_heap_test_start_demo(const struct shell *sh, size_t argc,
				   char **argv)
{

	int err = 0;
	uint16_t sw_period =200;
    uint16_t max_count=0;
	sw_period = shell_strtoul(argv[1], 0, &err);
	max_count= shell_strtoul(argv[2], 0, &err);
    heap_msg_send_max_count=max_count;
	shell_print(sh, "argv[0]=%s,argv[1]=%s,argv[2]=%s,sw_period=%d,max_count=%d,",argv[0],argv[1],argv[1],sw_period,\
	                 max_count);
	return cmd_heap_test_start(sh, argc, argv, sw_period);
}



void timer_expired_handler(struct k_timer *timer)
{
    //LOG_INF("Timer expired");
    if(mesh_msg_send_max_count!=0)
    {
       mesh_msg_send_count++;
       if(mesh_msg_send_count<mesh_msg_send_max_count)
       { 
         mesh_send_buf.buf =1;
         k_msgq_put(&swtimer_msgq, &mesh_send_buf, K_NO_WAIT);
       }
       else
       {
        mesh_msg_send_count=0;
        k_timer_stop(&test_timer);
       }
    }
    else
    {
         mesh_send_buf.buf =1;
         k_msgq_put(&swtimer_msgq, &mesh_send_buf, K_NO_WAIT); 
    }
    
}


static int cmd_mesh_test_start(const struct shell *sh, size_t argc,
			      char **argv, uint32_t period)
{
	ARG_UNUSED(argv);
	k_timer_start(&test_timer, K_MSEC(period), K_MSEC(period));//K_NO_WAIT);

	return 0;
}

static int cmd_mesh_test_start_demo(const struct shell *sh, size_t argc,
				   char **argv)
{
	//char sw_period=20;
	//char max_count=0;
	//sscanf(argv[1], "%hhd", &sw_period);
	//sscanf(argv[2], "%hhd", &max_count);
	int err = 0;
	uint16_t sw_period =200;
    uint16_t max_count=0;
	send_dst = shell_strtoul(argv[1], 0, &err);
	sw_period= shell_strtoul(argv[2], 0, &err);
	max_count= shell_strtoul(argv[3], 0, &err);
	mesh_msg_send_max_count = max_count;
	shell_print(sh, "argv[0]=%s,argv[1]=%s,dst=%d,argv[2]=%s,sw_period=%d,argv[3]=%s,max_count=%d,",argv[0],argv[1],send_dst,\
	                 argv[2],sw_period,argv[3],mesh_msg_send_max_count);
	return cmd_mesh_test_start(sh, argc, argv, sw_period);
}



const struct bt_mesh_elem *elem=0;
int mesh_key_info(const struct shell *sh, size_t argc, char **argv)
{
    int err = 0;
	int read_rc = 0;
	struct read_seq_val nvs_read_seq;
    struct bt_mesh_subnet *sub;
    //shell_print(sh, "rtl8762gn_evb");
	read_rc = settings_read_one("bt/mesh/Seq", nvs_read_seq.val, 6);
	if(read_rc > 0){
      bt_mesh.seq = sys_get_le24(nvs_read_seq.val);
	}
    else {
	  bt_mesh.seq = 0;
	}
    sub = bt_mesh_subnet_get(0);
    shell_print(sh, "argv[0]=%s",argv[0]);
    //sscanf(argv[1], "%hhd", net_key_index);
    net_key_index[0]=shell_strtoul(argv[1], 0, &err);
    read_app_key(0,&read_appkey);
    //unsigned int net_key_index =hex_string_to_int(argv[1]);
    shell_print(sh, "argv[1]=%s",argv[1]);
    shell_print(sh, "net_key_index[0]=%d",net_key_index[0]);
    shell_print(sh,"NetKey %s", bt_hex(&sub->keys[0].net, sizeof(struct bt_mesh_key)));
    shell_print(sh,"devKey %s", bt_hex(&bt_mesh.dev_key, sizeof(struct bt_mesh_key)));
    shell_print(sh,"appKey %s", bt_hex(&read_appkey.val[0], sizeof(struct bt_mesh_key)));
    shell_print(sh, "IV Index is 0x%08x", bt_mesh.iv_index);
	shell_print(sh, "seq is 0x%08x", bt_mesh.seq);
    uint16_t ele_addr=bt_mesh_primary_addr();
    shell_print(sh, "primary_addr=%x",ele_addr);
    elem = bt_mesh_elem_find(ele_addr); 
    for (uint16_t i = 0U; i < comp.elem[0].model_count; i++) {
          shell_print(sh,"model_id(elem 0)=%x", comp.elem[0].models[i].id);
           if(ele_addr !=0) {
                for (uint8_t j = 0; j < elem->models[i].keys_cnt; j++) {
                   if (elem->models[i].keys[j] != BT_MESH_KEY_UNUSED) {
                      shell_print(sh,"appkeys_bind_idx =%d",elem->models[i].keys[j]);
                }
            }
        }
    }
    return 0;
}



SHELL_STATIC_SUBCMD_SET_CREATE(mesh_user_cmds,     
       SHELL_CMD_ARG(heap-test, NULL, "[<period:ms> count:(0=>unlimited)>]", cmd_heap_test_start_demo, 1,2), 
       SHELL_CMD_ARG(key-show, NULL, "netkey index", mesh_key_info, 1, 1),
       SHELL_CMD_ARG(mesh-send, NULL, "[<Dst:(0=>0xffff)> <period:ms> <count:(0=>unlimited)>]", cmd_mesh_test_start_demo, 1, 3),
       #if CONFIG_PM
	   SHELL_CMD_ARG(pm-ctl, NULL, "[<ctl:(0=>exit 1=>enter)>]", pm_user_ctl, 1, 1),
       #endif
     SHELL_SUBCMD_SET_END
    );
 SHELL_CMD_ARG_REGISTER(mesh_user, &mesh_user_cmds, "mesh user define commands", NULL, 1, 1);

#endif


int main(void)
{
	static struct k_work button_work;
	int err = -1;

	printk("Initializing...\n");

	if (IS_ENABLED(CONFIG_HWINFO)) {
		err = hwinfo_get_device_id(dev_uuid, sizeof(dev_uuid));
	}

	if (err < 0) {
		dev_uuid[0] = 0xdd;
		dev_uuid[1] = 0xdd;
	}

	k_work_init(&button_work, button_pressed);

	err = board_init(&button_work);
	if (err) {
		printk("Board init failed (err: %d)\n", err);
		return 0;
	}

	k_work_init_delayable(&onoff.work, onoff_timeout);

	/* Initialize the Bluetooth Subsystem */
	err = bt_enable(bt_ready);
	if (err) {
		printk("Bluetooth init failed (err %d)\n", err);
	}
	#if CONFIG_PM
    app_dlps_check_cb_register();
    app_dlps_enter_cb_register();
    app_dlps_exit_cb_register();
	//k_timer_start(&pm_test_timer, K_MSEC(300), K_MSEC(300));//K_NO_WAIT);
	#endif
	#if defined(CONFIG_BT_MESH_SHELL)
    /*
     2025-7-30 lq_liu
     get info from my_fifo to send mesh message by gen_onoff_send 
     */
     //T_RTL_MESH_SEND_BUF *rx_data; 
     while (1) {
    
        k_msgq_get(&swtimer_msgq, &mesh_send_buf, K_FOREVER);
        if(mesh_send_buf.buf==1)
        {
           mesh_send_buf.buf=0;
           //lq_threads_test(lq_sh);
           onoff.val=!onoff.val;
           err=gen_onoff_send(onoff.val,send_dst);
           if(err!=0)
           {
              k_timer_stop(&test_timer);
              printk("gen_onoff_send err=%d\n",err);
           }
            //rx_data->buf=0;
            
        }
		else if(mesh_send_buf.buf==2)
		{
            mesh_send_buf.buf=0;
			#ifdef CONFIG_SYS_HEAP_RUNTIME_STATS
			#include "mem_types.h"
			extern bool os_mem_peek_zephyr(RAM_TYPE ram_type, size_t *p_size);
			size_t p_size;
			os_mem_peek_zephyr(RAM_TYPE_DATA_ON, &p_size);
			//printk("data ram os_heap peek size=%d\n",p_size);
			os_mem_peek_zephyr(RAM_TYPE_BUFFER_ON, &p_size);
			//printk("buffer ram os_heap peek size=%d\n", p_size);

			//    size_t p_size;
			//    os_mem_peek_zephyr(0, &p_size);
			//    os_mem_peek_zephyr(1, &p_size);
			//    struct sys_memory_stats stats;
			// 	// low level接口
			// 	sys_heap_runtime_stats_get(&z_malloc_heap, &stats);
			// 	log_isr_stack_usage();
			// 	printk("stdlib malloc heap: heap size: %d, allocated %d, free %d, max allocated %d\n", CONFIG_COMMON_LIBC_MALLOC_ARENA_SIZE, stats.allocated_bytes, stats.free_bytes, stats.max_allocated_bytes);
			//     print_cpu_state();
			//  if(heap_mesh_msg_send_count==9)
			//  {
					// DBG_DIRECT("test");
					// 	while (1)
					// 	{
					// 		/* code */
					// 	}
				
			//  }
             #endif
		}
        k_yield();
     }
    #endif
	return 0;
}
```

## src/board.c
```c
/* board.c - Generic HW interaction hooks */

/*
 * Copyright (c) 2021 Nordic Semiconductor
 *
 * SPDX-License-Identifier: Apache-2.0
 */

#include <zephyr/bluetooth/mesh.h>
#include <zephyr/drivers/gpio.h>
#include "board.h"

/* Locate led0 as alias or label by that name */
#if DT_NODE_EXISTS(DT_ALIAS(led0))
#define LED0 DT_ALIAS(led0)
#elif DT_NODE_EXISTS(DT_NODELABEL(led0))
#define LED0 DT_NODELABEL(led0)
#else
#define LED0 DT_INVALID_NODE
#endif

/* Locate button0 as alias or label by sw0 or button0 */
#if DT_NODE_EXISTS(DT_ALIAS(sw0))
#define BUTTON0 DT_ALIAS(sw0)
#elif DT_NODE_EXISTS(DT_ALIAS(button0))
#define BUTTON0 DT_ALIAS(button0)
#elif DT_NODE_EXISTS(DT_NODELABEL(sw0))
#define BUTTON0 DT_NODELABEL(sw0)
#elif DT_NODE_EXISTS(DT_NODELABEL(button0))
#define BUTTON0 DT_NODELABEL(button0)
#else
#define BUTTON0 DT_INVALID_NODE
#endif

#if DT_NODE_EXISTS(LED0)
#define LED0_DEV DT_PHANDLE(LED0, gpios)
#define LED0_PIN DT_PHA(LED0, gpios, pin)
#define LED0_FLAGS DT_PHA(LED0, gpios, flags)

static const struct device *const led_dev = DEVICE_DT_GET(LED0_DEV);
#endif /* LED0 */

#if DT_NODE_EXISTS(BUTTON0)
#define BUTTON0_DEV DT_PHANDLE(BUTTON0, gpios)
#define BUTTON0_PIN DT_PHA(BUTTON0, gpios, pin)
#define BUTTON0_FLAGS DT_PHA(BUTTON0, gpios, flags)

static const struct device *const button_dev = DEVICE_DT_GET(BUTTON0_DEV);
static struct k_work *button_work;

static void button_cb(const struct device *port, struct gpio_callback *cb,
		      gpio_port_pins_t pins)
{
	k_work_submit(button_work);
}
#endif /* BUTTON0 */

static int led_init(void)
{
#if DT_NODE_EXISTS(LED0)
	int err;

	if (!device_is_ready(led_dev)) {
		return -ENODEV;
	}
    //2025-07-30
	// err = gpio_pin_configure(led_dev, LED0_PIN,
	// 			 LED0_FLAGS | GPIO_OUTPUT_INACTIVE);
	// err = gpio_pin_configure(led_dev, LED0_PIN, 
	// 	  LED0_FLAGS | GPIO_OUTPUT_ACTIVE | GPIO_PULL_UP);
	err = gpio_pin_configure(led_dev, LED0_PIN, 
		  LED0_FLAGS | GPIO_OUTPUT_INACTIVE | GPIO_PULL_DOWN);
	if (err) {
		return err;
	}
#else
	printk("WARNING: LEDs not supported on this board.\n");
#endif

	return 0;
}

static int button_init(struct k_work *button_pressed)
{
#if DT_NODE_EXISTS(BUTTON0)
	int err;
    //2025-07-30
	// err = gpio_pin_configure(button_dev, BUTTON0_PIN,
	// 			 BUTTON0_FLAGS | GPIO_INPUT);
	err = gpio_pin_configure(button_dev, BUTTON0_PIN, 
		  BUTTON0_FLAGS | GPIO_INPUT | GPIO_PULL_DOWN);
	if (err) {
		return err;
	}

	static struct gpio_callback gpio_cb;

	err = gpio_pin_interrupt_configure(button_dev, BUTTON0_PIN,
					   GPIO_INT_EDGE_TO_ACTIVE);
	if (err) {
		return err;
	}

	button_work = button_pressed;

	gpio_init_callback(&gpio_cb, button_cb, BIT(BUTTON0_PIN));
	gpio_add_callback(button_dev, &gpio_cb);
#else
	printk("WARNING: Buttons not supported on this board.\n");
#endif

	return 0;
}

int board_init(struct k_work *button_pressed)
{
	int err;

	err = led_init();
	if (err) {
		return err;
	}

	return button_init(button_pressed);
}

void board_led_set(bool val)
{
#if DT_NODE_EXISTS(LED0)
	gpio_pin_set(led_dev, LED0_PIN, val);
#endif
}

void board_output_number(bt_mesh_output_action_t action, uint32_t number)
{
}

void board_prov_complete(void)
{
}
```
